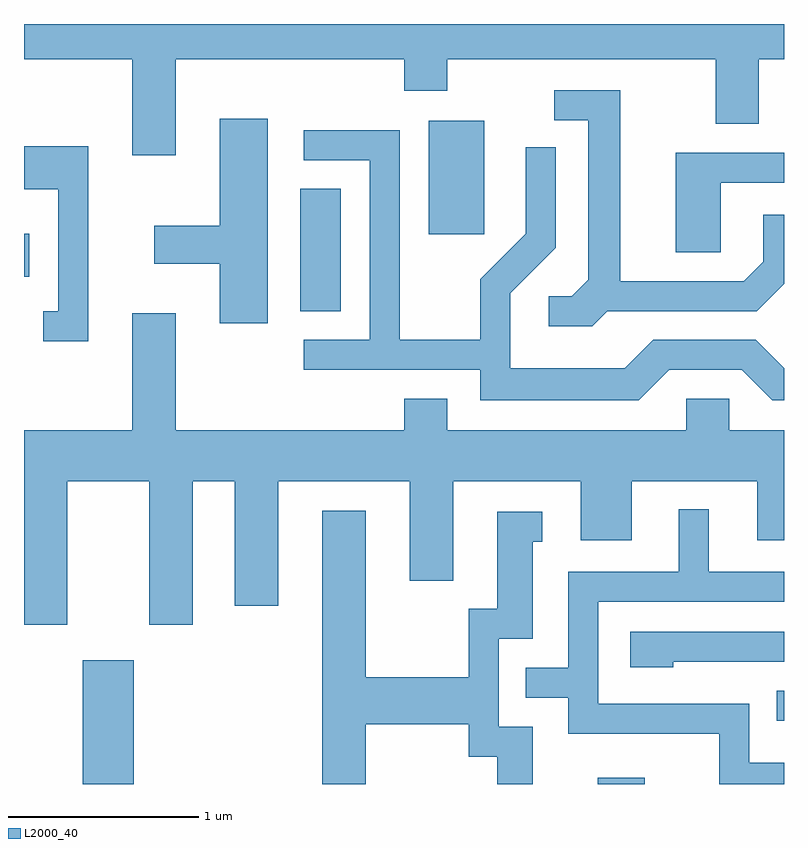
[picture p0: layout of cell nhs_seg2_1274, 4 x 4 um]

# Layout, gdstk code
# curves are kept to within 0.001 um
import gdstk
lib = gdstk.Library(unit=1e-6, precision=1e-09)
def R(c, l, rs):  # rectangles x0, y0, x1, y1
    for r in rs: c.add(gdstk.rectangle(r[:2], r[2:], *l))
def P(c, l, *ps):  # polygons
    for p in ps: c.add(gdstk.Polygon(p, *l))
L2000_40 = (2000, 40)

nhs_seg2_1274 = lib.new_cell('nhs_seg2_1274')
R(nhs_seg2_1274, L2000_40, [(221.921,1077.802,222.189,1078.454), (224.631,1077.802,224.879,1077.834), (225.573,1078.136,225.611,1078.294), (223.066,1080.291,223.279,1080.934), (221.611,1080.471,221.639,1080.699), (223.741,1080.696,224.034,1081.294)])
P(nhs_seg2_1274, L2000_40, [(222.409,1081.616),(223.611,1081.616),(223.611,1081.451),(223.839,1081.451),(223.839,1081.616),(225.251,1081.616),(225.251,1081.276),(225.479,1081.276),(225.479,1081.616),(225.611,1081.616),(225.611,1081.802),(221.611,1081.802),(221.611,1081.616),(222.181,1081.616),(222.181,1081.111),(222.409,1081.111)],
  [(224.682,1080.291),(225.467,1080.291),(225.611,1080.436),(225.611,1080.798),(225.501,1080.798),(225.501,1080.552),(225.399,1080.449),(224.749,1080.449),(224.749,1081.454),(224.403,1081.454),(224.403,1081.296),(224.581,1081.296),(224.581,1080.457),(224.494,1080.369),(224.373,1080.369),(224.373,1080.211),(224.602,1080.211)],
  [(222.894,1081.304),(222.641,1081.304),(222.641,1080.739),(222.296,1080.739),(222.296,1080.541),(222.641,1080.541),(222.641,1080.226),(222.894,1080.226)],
  [(225.007,1079.981),(225.389,1079.981),(225.549,1079.821),(225.611,1079.821),(225.611,1079.99),(225.462,1080.139),(224.924,1080.139),(224.774,1079.989),(224.169,1079.989),(224.169,1080.384),(224.409,1080.624),(224.409,1081.153),(224.251,1081.153),(224.251,1080.697),(224.011,1080.457),(224.011,1080.139),(223.589,1080.139),(223.589,1081.244),(223.083,1081.244),(223.083,1081.086),(223.431,1081.086),(223.431,1080.139),(223.083,1080.139),(223.083,1079.981),(224.011,1079.981),(224.011,1079.821),(224.847,1079.821)],
  [(221.949,1081.159),(221.611,1081.159),(221.611,1080.931),(221.791,1080.931),(221.791,1080.289),(221.713,1080.289),(221.713,1080.131),(221.949,1080.131)],
  [(225.279,1080.966),(225.611,1080.966),(225.611,1081.124),(225.041,1081.124),(225.041,1080.601),(225.279,1080.601)],
  [(223.839,1079.829),(223.611,1079.829),(223.611,1079.664),(222.409,1079.664),(222.409,1080.279),(222.181,1080.279),(222.181,1079.664),(221.611,1079.664),(221.611,1078.641),(221.839,1078.641),(221.839,1079.396),(222.271,1079.396),(222.271,1078.641),(222.499,1078.641),(222.499,1079.396),(222.721,1079.396),(222.721,1078.741),(222.949,1078.741),(222.949,1079.396),(223.641,1079.396),(223.641,1078.871),(223.869,1078.871),(223.869,1079.396),(224.541,1079.396),(224.541,1079.086),(224.809,1079.086),(224.809,1079.396),(225.471,1079.396),(225.471,1079.086),(225.611,1079.086),(225.611,1079.664),(225.324,1079.664),(225.324,1079.829),(225.096,1079.829),(225.096,1079.664),(223.839,1079.664)],
  [(225.611,1077.914),(225.429,1077.914),(225.429,1078.224),(224.634,1078.224),(224.634,1078.761),(225.611,1078.761),(225.611,1078.919),(225.214,1078.919),(225.214,1079.248),(225.056,1079.248),(225.056,1078.919),(224.476,1078.919),(224.476,1078.414),(224.253,1078.414),(224.253,1078.256),(224.476,1078.256),(224.476,1078.066),(225.271,1078.066),(225.271,1077.802),(225.611,1077.802)],
  [(223.409,1078.116),(223.951,1078.116),(223.951,1077.946),(224.101,1077.946),(224.101,1077.802),(224.289,1077.802),(224.289,1078.104),(224.109,1078.104),(224.109,1078.566),(224.289,1078.566),(224.289,1079.076),(224.338,1079.076),(224.338,1079.234),(224.101,1079.234),(224.101,1078.724),(223.951,1078.724),(223.951,1078.364),(223.409,1078.364),(223.409,1079.239),(223.181,1079.239),(223.181,1077.802),(223.409,1077.802)],
  [(225.029,1078.446),(225.611,1078.446),(225.611,1078.604),(224.801,1078.604),(224.801,1078.416),(225.029,1078.416)])

lib.write_gds('nhs_seg2_1274.gds')
